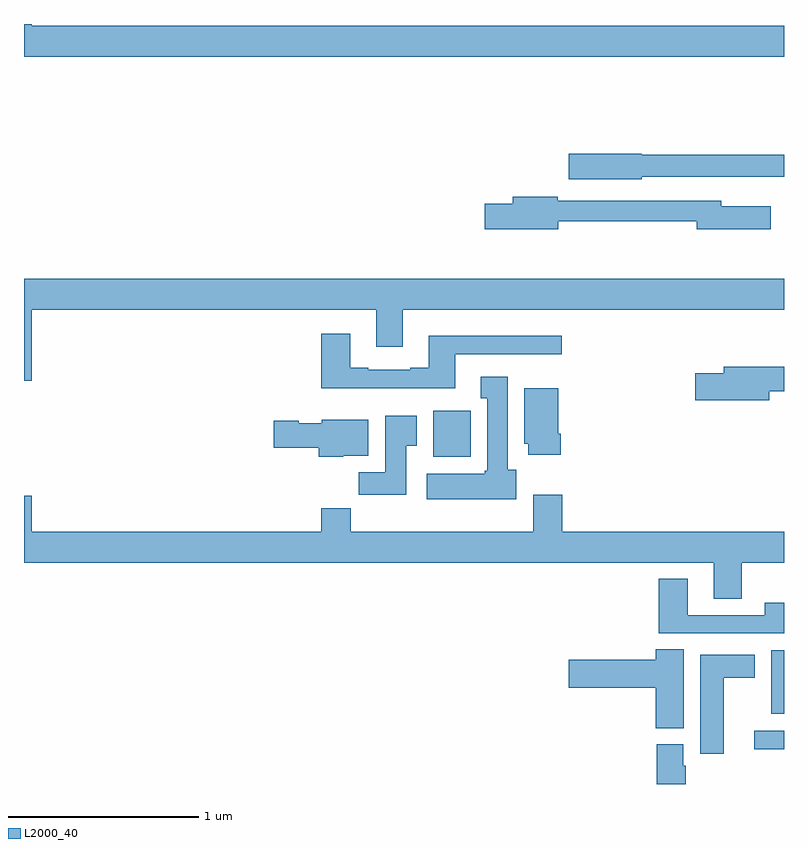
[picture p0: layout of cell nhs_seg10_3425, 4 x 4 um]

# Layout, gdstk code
import gdstk
lib = gdstk.Library(unit=1e-6, precision=1e-09)
def R(c, l, rs):  # rectangles x0, y0, x1, y1
    for r in rs: c.add(gdstk.rectangle(r[:2], r[2:], *l))
def P(c, l, *ps):  # polygons
    for p in ps: c.add(gdstk.Polygon(p, *l))
L2000_40 = (2000, 40)

nhs_seg10_3425 = lib.new_cell('nhs_seg10_3425')
R(nhs_seg10_3425, L2000_40, [(300.843,1284.683,301,1284.78), (300.932,1284.869,301,1285.204), (299.153,1286.222,299.35,1286.464)])
P(nhs_seg10_3425, L2000_40, [(301,1288.492),(297.04,1288.492),(297.04,1288.5),(297,1288.5),(297,1288.328),(301,1288.328)],
  [(300.252,1287.696),(300.766,1287.696),(300.766,1287.695),(301,1287.695),(301,1287.812),(300.252,1287.812),(300.252,1287.818),(299.868,1287.818),(299.868,1287.683),(300.252,1287.683)],
  [(299.812,1287.462),(300.542,1287.462),(300.542,1287.419),(300.931,1287.419),(300.931,1287.541),(300.67,1287.541),(300.67,1287.57),(299.808,1287.57),(299.808,1287.59),(299.573,1287.59),(299.573,1287.554),(299.424,1287.554),(299.424,1287.419),(299.812,1287.419)],
  [(297.04,1286.996),(298.853,1286.996),(298.853,1286.802),(298.993,1286.802),(298.993,1286.996),(301,1286.996),(301,1287.16),(297,1287.16),(297,1286.622),(297.04,1286.622)],
  [(299.269,1286.763),(299.83,1286.763),(299.83,1286.86),(299.129,1286.86),(299.129,1286.692),(299.033,1286.692),(299.033,1286.679),(298.813,1286.679),(298.813,1286.692),(298.717,1286.692),(298.717,1286.869),(298.565,1286.869),(298.565,1286.582),(299.269,1286.582)],
  [(300.922,1286.566),(301,1286.566),(301,1286.695),(300.683,1286.695),(300.683,1286.661),(300.534,1286.661),(300.534,1286.519),(300.922,1286.519)],
  [(299.59,1286.154),(299.545,1286.154),(299.545,1286.644),(299.405,1286.644),(299.405,1286.531),(299.438,1286.531),(299.438,1286.148),(299.425,1286.148),(299.425,1286.134),(299.121,1286.134),(299.121,1286),(299.59,1286)],
  [(299.825,1286.344),(299.812,1286.344),(299.812,1286.584),(299.633,1286.584),(299.633,1286.292),(299.654,1286.292),(299.654,1286.232),(299.825,1286.232)],
  [(299.011,1286.281),(299.068,1286.281),(299.068,1286.437),(298.901,1286.437),(298.901,1286.14),(298.762,1286.14),(298.762,1286.022),(299.011,1286.022)],
  [(298.68,1286.228),(298.813,1286.228),(298.813,1286.416),(298.566,1286.416),(298.566,1286.398),(298.446,1286.398),(298.446,1286.411),(298.314,1286.411),(298.314,1286.269),(298.55,1286.269),(298.55,1286.222),(298.68,1286.222)],
  [(300.777,1285.664),(301,1285.664),(301,1285.828),(299.834,1285.828),(299.834,1286.023),(299.681,1286.023),(299.681,1285.828),(298.721,1285.828),(298.721,1285.952),(298.565,1285.952),(298.565,1285.828),(297.04,1285.828),(297.04,1286.017),(297,1286.017),(297,1285.664),(300.629,1285.664),(300.629,1285.474),(300.777,1285.474)],
  [(301,1285.453),(300.898,1285.453),(300.898,1285.389),(300.493,1285.389),(300.493,1285.579),(300.341,1285.579),(300.341,1285.293),(301,1285.293)],
  [(300.472,1285.208),(300.326,1285.208),(300.326,1285.154),(299.868,1285.154),(299.868,1285.007),(300.326,1285.007),(300.326,1284.793),(300.472,1284.793)],
  [(300.682,1285.058),(300.847,1285.058),(300.847,1285.18),(300.56,1285.18),(300.56,1284.66),(300.682,1284.66)],
  [(300.482,1284.597),(300.469,1284.597),(300.469,1284.708),(300.329,1284.708),(300.329,1284.5),(300.482,1284.5)])

lib.write_gds('nhs_seg10_3425.gds')
